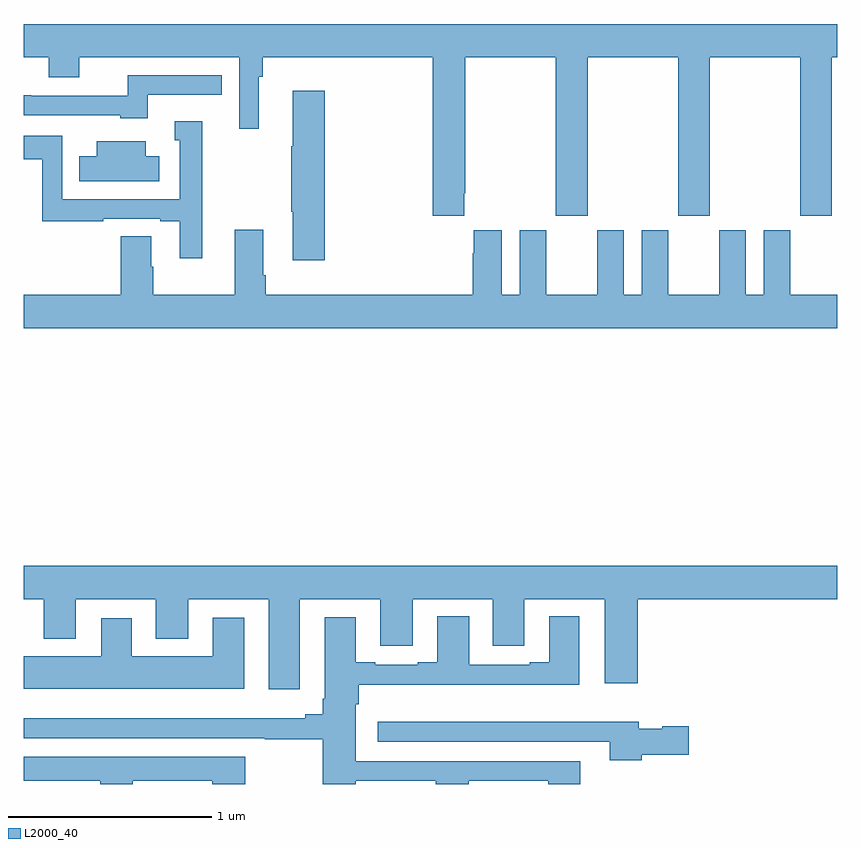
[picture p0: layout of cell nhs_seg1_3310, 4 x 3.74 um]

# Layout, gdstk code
import gdstk
lib = gdstk.Library(unit=1e-6, precision=1e-09)
def P(c, l, *ps):  # polygons
    for p in ps: c.add(gdstk.Polygon(p, *l))
L2000_40 = (2000, 40)

nhs_seg1_3310 = lib.new_cell('nhs_seg1_3310')
P(nhs_seg1_3310, L2000_40, [(291,511.772),(291.122,511.772),(291.122,511.673),(291.274,511.673),(291.274,511.772),(292.059,511.772),(292.059,511.422),(292.156,511.422),(292.156,511.676),(292.175,511.676),(292.175,511.772),(293.012,511.772),(293.012,510.993),(293.167,510.993),(293.167,511.105),(293.172,511.105),(293.172,511.772),(293.617,511.772),(293.617,510.993),(293.772,510.993),(293.772,511.772),(294.217,511.772),(294.217,510.993),(294.372,510.993),(294.372,511.772),(294.817,511.772),(294.817,510.993),(294.972,510.993),(294.972,511.772),(295,511.772),(295,511.936),(291,511.936)],
  [(291.61,511.587),(291.974,511.587),(291.974,511.683),(291.511,511.683),(291.511,511.584),(291.038,511.584),(291.038,511.586),(291,511.586),(291,511.488),(291.474,511.488),(291.474,511.472),(291.61,511.472)],
  [(292.481,511.609),(292.322,511.609),(292.322,511.334),(292.315,511.334),(292.315,511.012),(292.322,511.012),(292.322,510.774),(292.481,510.774)],
  [(291.877,511.459),(291.743,511.459),(291.743,511.365),(291.768,511.365),(291.768,511.074),(291.189,511.074),(291.189,511.386),(291,511.386),(291,511.27),(291.091,511.27),(291.091,510.966),(291.392,510.966),(291.392,510.978),(291.671,510.978),(291.671,510.966),(291.767,510.966),(291.767,510.783),(291.877,510.783)],
  [(291.667,511.285),(291.601,511.285),(291.601,511.36),(291.359,511.36),(291.359,511.285),(291.274,511.285),(291.274,511.163),(291.667,511.163)],
  [(295,510.604),(294.769,510.604),(294.769,510.922),(294.638,510.922),(294.638,510.604),(294.55,510.604),(294.55,510.922),(294.419,510.922),(294.419,510.604),(294.169,510.604),(294.169,510.922),(294.038,510.922),(294.038,510.604),(293.95,510.604),(293.95,510.922),(293.819,510.922),(293.819,510.604),(293.569,510.604),(293.569,510.922),(293.438,510.922),(293.438,510.604),(293.35,510.604),(293.35,510.922),(293.213,510.922),(293.213,510.809),(293.207,510.809),(293.207,510.604),(292.19,510.604),(292.19,510.7),(292.177,510.7),(292.177,510.925),(292.037,510.925),(292.037,510.604),(291.636,510.604),(291.636,510.743),(291.628,510.743),(291.628,510.893),(291.476,510.893),(291.476,510.604),(291,510.604),(291,510.44),(295,510.44)],
  [(292.357,509.108),(292.754,509.108),(292.754,508.878),(292.912,508.878),(292.912,509.108),(293.306,509.108),(293.306,508.878),(293.461,508.878),(293.461,509.108),(293.858,509.108),(293.858,508.695),(294.019,508.695),(294.019,509.108),(295,509.108),(295,509.272),(291,509.272),(291,509.108),(291.098,509.108),(291.098,508.914),(291.256,508.914),(291.256,509.108),(291.65,509.108),(291.65,508.914),(291.808,508.914),(291.808,509.108),(292.205,509.108),(292.205,508.665),(292.357,508.665)],
  [(292.633,508.215),(293.027,508.215),(293.027,508.199),(293.188,508.199),(293.188,508.215),(293.579,508.215),(293.579,508.199),(293.737,508.199),(293.737,508.311),(292.633,508.311),(292.633,508.592),(292.646,508.592),(292.646,508.688),(293.731,508.688),(293.731,509.023),(293.585,509.023),(293.585,508.798),(293.489,508.798),(293.489,508.785),(293.191,508.785),(293.191,509.023),(293.033,509.023),(293.033,508.798),(292.937,508.798),(292.937,508.785),(292.729,508.785),(292.729,508.798),(292.633,508.798),(292.633,509.02),(292.481,509.02),(292.481,508.618),(292.469,508.618),(292.469,508.541),(292.385,508.541),(292.385,508.522),(291,508.522),(291,508.425),(292.186,508.425),(292.186,508.42),(292.471,508.42),(292.471,508.199),(292.633,508.199)],
  [(292.084,509.017),(291.929,509.017),(291.929,508.828),(291.532,508.828),(291.532,509.014),(291.38,509.014),(291.38,508.828),(291,508.828),(291,508.667),(292.084,508.667)],
  [(294.038,508.342),(294.271,508.342),(294.271,508.484),(294.14,508.484),(294.14,508.471),(294.025,508.471),(294.025,508.505),(292.74,508.505),(292.74,508.407),(293.882,508.407),(293.882,508.316),(294.038,508.316)],
  [(291.535,508.214),(291.926,508.214),(291.926,508.199),(292.09,508.199),(292.09,508.333),(291,508.333),(291,508.214),(291.377,508.214),(291.377,508.199),(291.535,508.199)])

lib.write_gds('nhs_seg1_3310.gds')
